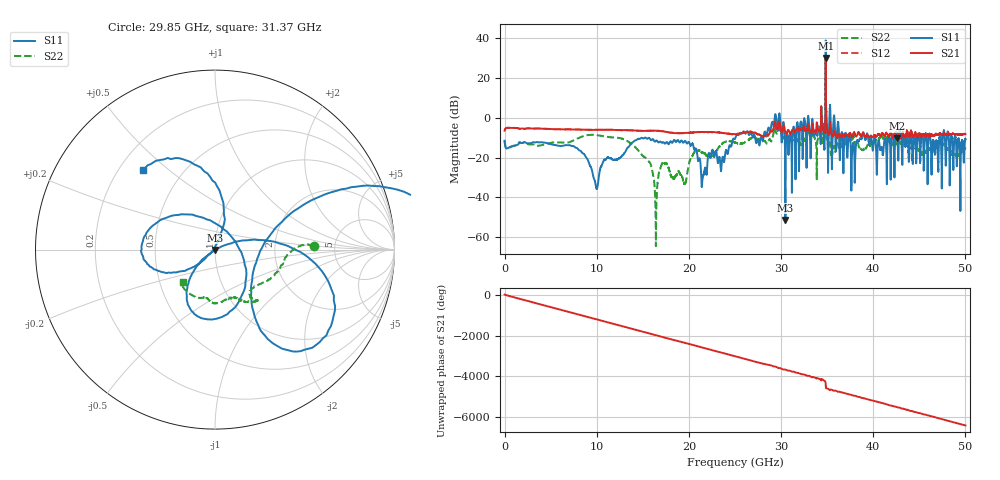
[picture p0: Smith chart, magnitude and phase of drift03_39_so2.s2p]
!Created with skrf (http://scikit-rf.org).
# Hz S RI R 50.0
!freq ReS11 ImS11 ReS21 ImS21 ReS12 ImS12 ReS22 ImS22
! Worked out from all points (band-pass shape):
!   10001 points, 300 kHz to 50 GHz, reference 50 ohm
!   highest |S21| = 30.09 dB at 34.85 GHz (marker M1); lowest = -10.4 dB at 42.55 GHz (marker M2)
!   |S21| within 3 dB of the highest: 34.84402 GHz to 34.84592 GHz (1.9 MHz wide, 0.00545 % of centre)
!   lowest |S11| = -51.4 dB at 30.47 GHz (marker M3), VSWR 1.01, Z = 50 - j0.264 ohm
!   |S11| at or under -10 dB: start of sweep to 15.23 GHz; 15.32 GHz to 25.05 GHz (9.736 GHz wide, 48.2 % of centre); 40.22 GHz to 41.62 GHz (1.395 GHz wide, 3.41 % of centre) (the widest 3 of 50)
!   |S22| runs from -64.6 to 21.2 dB; largest |S21 - S12| = 4.5
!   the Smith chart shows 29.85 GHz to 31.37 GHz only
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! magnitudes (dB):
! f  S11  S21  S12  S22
! 300 kHz  -11.6  -6.5  -6.5  -11.4
! 8.335 GHz  -17.1  -6.0  -6.0  -9.6
! 9.955 GHz  -35.7  -6.1  -6.1  -8.7
! 10.99 GHz  -20.8  -6.0  -6.0  -9.5
! 13.93 GHz  -12.3  -6.3  -6.3  -13.8
! 16.36 GHz  -11.9  -6.5  -6.5  -42.8
! 16.67 GHz  -12.4  -6.6  -6.5  -29.7
! 17.34 GHz  -12.8  -6.9  -6.9  -22.9
! 19.55 GHz  -11.7  -7.7  -7.7  -33.0
! 20.22 GHz  -13.9  -7.5  -7.5  -20.3
! 21.55 GHz  -28.5  -7.2  -7.2  -17.6
! 25 GHz  -10.6  -8.2  -8.2  -12.5
! 29.6 GHz  -5.5  -5.7  -5.9  -7.8
! 30.47 GHz  -51.4  -7.2  -7.2  -9.1
! 33.34 GHz  -3.8  -6.8  -6.7  -9.3
! 34.85 GHz  38.9  30.1  29.9  21.2
! 35.63 GHz  -6.7  -9.2  -9.1  -16.1
! 37.82 GHz  -12.6  -8.4  -8.3  -9.9
! 38.81 GHz  -9.1  -8.3  -8.3  -16.2
! 41.67 GHz  -9.3  -9.5  -9.4  -11.5
! 42.55 GHz  -8.6  -10.4  -10.4  -13.2
! 50 GHz  -10.7  -8.2  -8.2  -15.5
